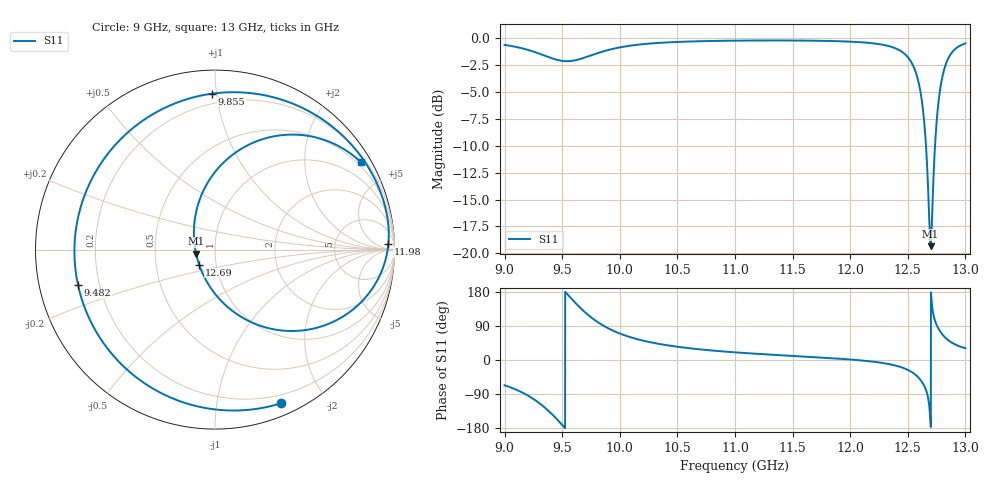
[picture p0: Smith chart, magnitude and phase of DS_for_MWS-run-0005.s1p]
! TOUCHSTONE file generated by CST DESIGN STUDIO
! Date and time: Tue Feb  4 14:32:42 2025
! Project name: C:\Work\MatlabApps\UnitCellOptimizationMatlab\CST\unitcell.cst
! Tree item: Tasks\Sweep1\SPara1\S-Parameters
! Header version: 2024
! Port assignment regex: !\s*Touchstone port\s*([0-9]+)\s*=\s*(CST MWS port|CST DES external port|CST DES block port)\s*(.+)\s* \(\"(.*)\"\)(\s*mode\s*([0-9]+))?.*
! Touchstone port assignment:
! Touchstone port 1 = CST DES external port 1 ("")
# GHz S MA R 50
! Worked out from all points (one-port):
!   4001 points, 9 GHz to 13 GHz, reference 50 ohm
!   lowest |S11| = -19.3 dB at 12.7 GHz (marker M1), VSWR 1.24, Z = 40.4 - j1.91 ohm
!   |S11| at or under -10 dB: 12.66 GHz to 12.74 GHz (78.2 MHz wide, 0.616 % of centre)
!   S11 on the Smith chart (normalised r, x): 9 GHz: 0.12, -1.51; 9.482 GHz: 0.12, -0.13; 9.855 GHz: 0.14, +0.97; 11.98 GHz: 30, +29; 12.69 GHz: 0.83, -0.14; 13 GHz: 0.38, +3.56
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9  0.932 -66.8
9.161  0.8961 -87.0
9.276  0.858 -108.2
9.377  0.8193 -133.2
9.482  0.7884 -165.4
9.5  0.7856 -171.4
9.585  0.7858 160.2
9.684  0.81 129.8
9.855  0.8691 91.0
10  0.9074 69.9
10.216  0.941 50.1
10.5  0.9622 35.0
11  0.9756 20.2
11.5  0.9769 10.8
11.976  0.9664 1.9
12  0.9652 1.3
12.332  0.9212 -10.5
12.5  0.8176 -26.0
12.563  0.7102 -38.0
12.621  0.5163 -57.1
12.653  0.3469 -75.1
12.691  0.1216 -136.9
12.698  0.1079 -167.5
12.711  0.1495 142.1
12.754  0.4325 90.0
12.804  0.6768 66.0
12.89  0.868 44.4
13  0.9468 31.1
